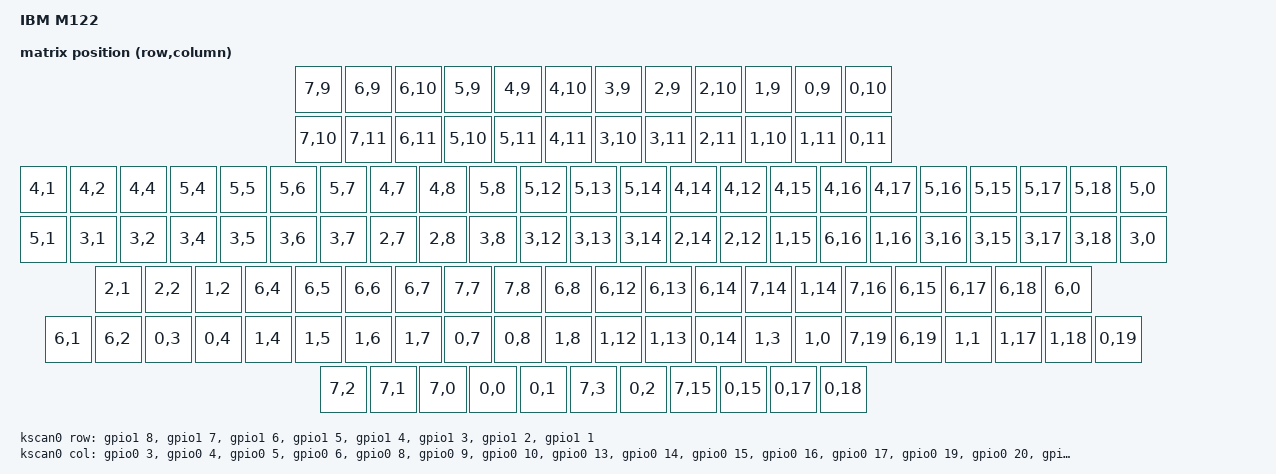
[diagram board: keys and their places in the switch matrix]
/*
* Copyright (c) 2023 The ZMK Contributers
* SPDX-Licencse-Identifier: MIT
*/

/dts-v1/;
#include <nordic/nrf52840_qiaa.dtsi>

#include <dt-bindings/led/led.h>
#include <dt-bindings/zmk/matrix_transform.h>

/ {
    model = "IBM M122";
    compatible = "ibm,60";

    chosen {
        zephyr,code-partition = &code_partition;
        zephyr,sram = &sram0;
        zephyr,flash = &flash0;
        zephyr,console = &cdc_acm_uart;
        zmk,battery = &vbatt;
        zmk,kscan = &kscan0;
        zmk,matrix_transform = &default_transform;
    };

    default_transform: keymap_transform_0 {
        compatible = "zmk,matrix-transform";
        columns = <20>;
        rows = <8>;
        map = <
                 RC(7,9)  RC(6,9)  RC(6,10) RC(5,9)  RC(4,9)  RC(4,10) RC(3,9)  RC(2,9)  RC(2,10) RC(1,9)  RC(0,9)  RC(0,10)
                 RC(7,10) RC(7,11) RC(6,11) RC(5,10) RC(5,11) RC(4,11) RC(3,10) RC(3,11) RC(2,11) RC(1,10) RC(1,11) RC(0,11)
RC(4,1) RC(4,2)  RC(4,4) RC(5,4) RC(5,5) RC(5,6) RC(5,7) RC(4,7) RC(4,8) RC(5,8) RC(5,12) RC(5,13) RC(5,14) RC(4,14) RC(4,12)      RC(4,15)  RC(4,16) RC(4,17) RC(5,16)  RC(5,15) RC(5,17) RC(5,18) RC(5,0)
RC(5,1) RC(3,1)  RC(3,2)   RC(3,4) RC(3,5) RC(3,6) RC(3,7) RC(2,7) RC(2,8) RC(3,8) RC(3,12) RC(3,13) RC(3,14) RC(2,14) RC(2,12)    RC(1,15)  RC(6,16) RC(1,16) RC(3,16)  RC(3,15) RC(3,17) RC(3,18) RC(3,0)
RC(2,1) RC(2,2)  RC(1,2)     RC(6,4) RC(6,5) RC(6,6) RC(6,7) RC(7,7) RC(7,8) RC(6,8) RC(6,12) RC(6,13) RC(6,14) RC(7,14) RC(1,14)                     RC(7,16)           RC(6,15) RC(6,17) RC(6,18) RC(6,0)
RC(6,1) RC(6,2)  RC(0,3) RC(0,4) RC(1,4) RC(1,5) RC(1,6) RC(1,7) RC(0,7) RC(0,8) RC(1,8) RC(1,12) RC(1,13) RC(0,14)                RC(1,3)   RC(1,0)  RC(7,19) RC(6,19)  RC(1,1)  RC(1,17) RC(1,18) RC(0,19)
RC(7,2) RC(7,1)  RC(7,0) RC(0,0)                         RC(0,1)                                                         RC(7,3)   RC(0,2)            RC(7,15)           RC(0,15) RC(0,17) RC(0,18) 
        >;
    };

    kscan0: kscan {
        compatible = "zmk,kscan-gpio-matrix";

        diode-direction = "row2col";
        row-gpios
            = <&gpio1 8 (GPIO_ACTIVE_HIGH)> // R0
            , <&gpio1 7 (GPIO_ACTIVE_HIGH)> // R1
            , <&gpio1 6 (GPIO_ACTIVE_HIGH)> // R2
            , <&gpio1 5 (GPIO_ACTIVE_HIGH)> // R3
            , <&gpio1 4 (GPIO_ACTIVE_HIGH)> // R4
            , <&gpio1 3 (GPIO_ACTIVE_HIGH)> // R5
            , <&gpio1 2 (GPIO_ACTIVE_HIGH)> // R6
            , <&gpio1 1 (GPIO_ACTIVE_HIGH)> // R7
            ;
        col-gpios
            = <&gpio0 3 (GPIO_ACTIVE_HIGH | GPIO_PULL_DOWN)>   // C0
            , <&gpio0 4 (GPIO_ACTIVE_HIGH | GPIO_PULL_DOWN)>   // C1
            , <&gpio0 5 (GPIO_ACTIVE_HIGH | GPIO_PULL_DOWN)>   // C2
            , <&gpio0 6 (GPIO_ACTIVE_HIGH | GPIO_PULL_DOWN)>   // C3
            , <&gpio0 8 (GPIO_ACTIVE_HIGH | GPIO_PULL_DOWN)>   // C4
            , <&gpio0 9 (GPIO_ACTIVE_HIGH | GPIO_PULL_DOWN)>   // C5
            , <&gpio0 10 (GPIO_ACTIVE_HIGH | GPIO_PULL_DOWN)>  // C6
            , <&gpio0 13 (GPIO_ACTIVE_HIGH | GPIO_PULL_DOWN)>  // C7
            , <&gpio0 14 (GPIO_ACTIVE_HIGH | GPIO_PULL_DOWN)> // C8
            , <&gpio0 15 (GPIO_ACTIVE_HIGH | GPIO_PULL_DOWN)> // C9
            , <&gpio0 16 (GPIO_ACTIVE_HIGH | GPIO_PULL_DOWN)> // C10
            , <&gpio0 17 (GPIO_ACTIVE_HIGH | GPIO_PULL_DOWN)> // C11
            , <&gpio0 19 (GPIO_ACTIVE_HIGH | GPIO_PULL_DOWN)> // C12
            , <&gpio0 20 (GPIO_ACTIVE_HIGH | GPIO_PULL_DOWN)> // C13
            , <&gpio0 21 (GPIO_ACTIVE_HIGH | GPIO_PULL_DOWN)> // C14
            , <&gpio0 22 (GPIO_ACTIVE_HIGH | GPIO_PULL_DOWN)> // C15
            , <&gpio0 23 (GPIO_ACTIVE_HIGH | GPIO_PULL_DOWN)> // C16
            , <&gpio0 24 (GPIO_ACTIVE_HIGH | GPIO_PULL_DOWN)> // C17
            , <&gpio0 25 (GPIO_ACTIVE_HIGH | GPIO_PULL_DOWN)> // C18
            , <&gpio0 26 (GPIO_ACTIVE_HIGH | GPIO_PULL_DOWN)> // C19
            ;
    };

    vbatt: vbatt {
        compatible = "zmk,battery-voltage-divider";
        io-channels = <&adc 0>;
        output-ohms = <100000>;
        full-ohms = <200000>;
        label = "VBATT";
    };
};

&adc {
    status = "okay";
};

&gpiote {
    status = "okay";
};

&gpio0 {
    status = "okay";
};

&gpio1 {
    status = "okay";
};

&usbd {
    status = "okay";
    cdc_acm_uart: cdc_acm_uart {
        compatible = "zephyr,cdc-acm-uart";
        label = "CDC_ACM_0";
    };
};

&flash0 {
    /*
     * For more information, see:
     * http://docs.zephyrproject.org/latest/devices/dts/flash_partitions.html
     */
    partitions {
        compatible = "fixed-partitions";
        #address-cells = <1>;
        #size-cells = <1>;

        sd_partition: partition@0 {
            label = "softdevice";
            reg = <0x00000000 0x00026000>;
        };

        code_partition: partition@1000 {
            label = "code_partition";
            reg = <0x00026000 0x000d3000>;
        };

        /*
         * The flash starting at 0x000d4000 and ending at
         * 0x000f3fff is reserved for use by the application.
         */

        /*
         * Storage partition will be used by FCB/LittleFS/NVS
         * if enabled.
         */
        storage_partition: partition@d4000 {
            label = "storage";
            reg = <0x000d4000 0x00020000>;
        };

        boot_partition: partition@f4000 {
            label = "adafruit_boot";
            reg = <0x000f4000 0x0000c000>;
        };
    };
};
